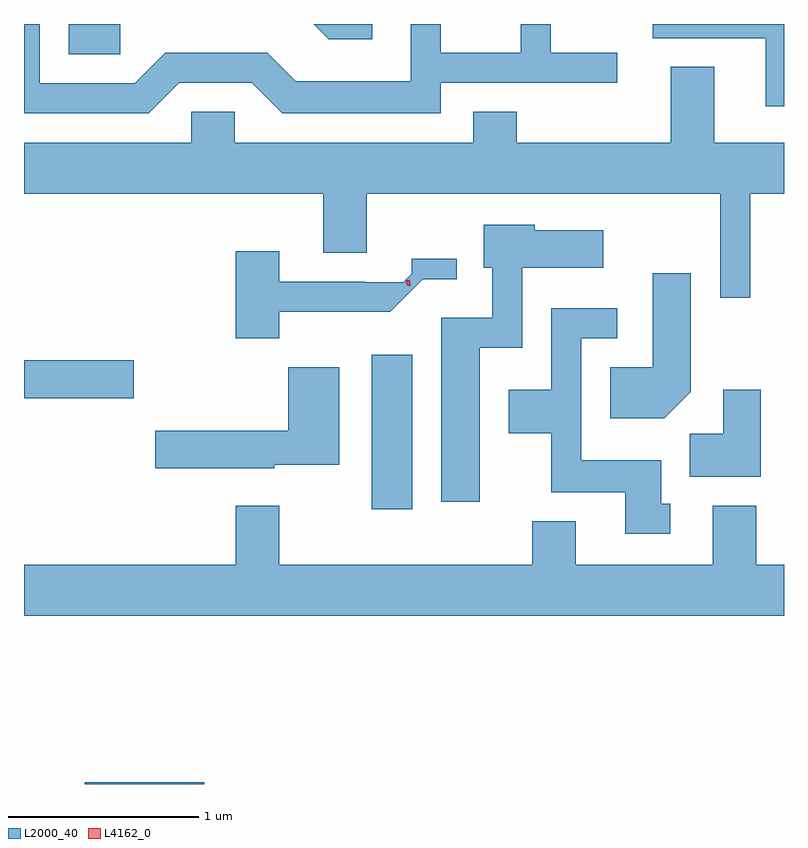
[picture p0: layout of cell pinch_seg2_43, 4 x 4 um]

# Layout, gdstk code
import gdstk
lib = gdstk.Library(unit=1e-6, precision=1e-09)
def R(c, l, rs):  # rectangles x0, y0, x1, y1
    for r in rs: c.add(gdstk.rectangle(r[:2], r[2:], *l))
def P(c, l, *ps):  # polygons
    for p in ps: c.add(gdstk.Polygon(p, *l))
L2000_40 = (2000, 40)
L4162_0 = (4162, 0)

pinch_seg2_43 = lib.new_cell('pinch_seg2_43')
R(pinch_seg2_43, L2000_40, [(1102.526,1098.49,1103.154,1098.499), (1104.036,1099.936,1104.249,1100.749), (1102.206,1100.521,1102.784,1100.719)])
P(pinch_seg2_43, L2000_40, [(1102.713,1102.489),(1102.599,1102.489),(1102.599,1102.49),(1102.441,1102.49),(1102.441,1102.331),(1102.713,1102.331)],
  [(1103.022,1102.181),(1103.404,1102.181),(1103.564,1102.021),(1104.399,1102.021),(1104.399,1102.181),(1105.328,1102.181),(1105.328,1102.339),(1104.979,1102.339),(1104.979,1102.49),(1104.821,1102.49),(1104.821,1102.339),(1104.399,1102.339),(1104.399,1102.49),(1104.241,1102.49),(1104.241,1102.189),(1103.637,1102.189),(1103.487,1102.339),(1102.949,1102.339),(1102.789,1102.179),(1102.289,1102.179),(1102.289,1102.49),(1102.206,1102.49),(1102.206,1102.021),(1102.862,1102.021)],
  [(1106.206,1102.49),(1105.516,1102.49),(1105.516,1102.416),(1106.111,1102.416),(1106.111,1102.056),(1106.206,1102.056)],
  [(1104.038,1102.49),(1103.73,1102.49),(1103.809,1102.411),(1104.038,1102.411)],
  [(1106.029,1101.596),(1106.206,1101.596),(1106.206,1101.864),(1105.839,1101.864),(1105.839,1102.264),(1105.611,1102.264),(1105.611,1101.864),(1104.799,1101.864),(1104.799,1102.029),(1104.571,1102.029),(1104.571,1101.864),(1103.314,1101.864),(1103.314,1102.029),(1103.086,1102.029),(1103.086,1101.864),(1102.206,1101.864),(1102.206,1101.596),(1103.781,1101.596),(1103.781,1101.286),(1104.009,1101.286),(1104.009,1101.596),(1105.871,1101.596),(1105.871,1101.048),(1106.029,1101.048)],
  [(1104.604,1100.786),(1104.829,1100.786),(1104.829,1101.206),(1105.254,1101.206),(1105.254,1101.404),(1104.894,1101.404),(1104.894,1101.434),(1104.626,1101.434),(1104.626,1101.206),(1104.671,1101.206),(1104.671,1100.944),(1104.401,1100.944),(1104.401,1099.976),(1104.604,1099.976)],
  [(1103.549,1100.976),(1104.134,1100.976),(1104.304,1101.146),(1104.483,1101.146),(1104.483,1101.254),(1104.247,1101.254),(1104.247,1101.175),(1104.202,1101.13),(1104.002,1101.13),(1104.002,1101.134),(1103.549,1101.134),(1103.549,1101.294),(1103.321,1101.294),(1103.321,1100.836),(1103.549,1100.836)],
  [(1105.714,1100.554),(1105.714,1101.179),(1105.516,1101.179),(1105.516,1100.684),(1105.291,1100.684),(1105.291,1100.416),(1105.577,1100.416)],
  [(1105.608,1099.964),(1105.559,1099.964),(1105.559,1100.194),(1105.139,1100.194),(1105.139,1100.836),(1105.328,1100.836),(1105.328,1100.994),(1104.981,1100.994),(1104.981,1100.564),(1104.756,1100.564),(1104.756,1100.336),(1104.981,1100.336),(1104.981,1100.026),(1105.371,1100.026),(1105.371,1099.806),(1105.608,1099.806)],
  [(1103.524,1100.171),(1103.864,1100.171),(1103.864,1100.684),(1103.596,1100.684),(1103.596,1100.349),(1102.896,1100.349),(1102.896,1100.151),(1103.524,1100.151)],
  [(1106.084,1100.564),(1105.886,1100.564),(1105.886,1100.334),(1105.711,1100.334),(1105.711,1100.106),(1106.084,1100.106)],
  [(1106.206,1099.644),(1106.059,1099.644),(1106.059,1099.954),(1105.831,1099.954),(1105.831,1099.644),(1105.109,1099.644),(1105.109,1099.874),(1104.881,1099.874),(1104.881,1099.644),(1103.549,1099.644),(1103.549,1099.954),(1103.321,1099.954),(1103.321,1099.644),(1102.206,1099.644),(1102.206,1099.376),(1106.206,1099.376)])
R(pinch_seg2_43, L4162_0, [(1104.217,1101.122,1104.237,1101.142)])
P(pinch_seg2_43, L4162_0, [(1104.238,1101.111),(1104.223,1101.116),(1104.222,1101.131),(1104.222,1101.132),(1104.223,1101.132),(1104.239,1101.128),(1104.239,1101.111),(1104.239,1101.111)])

lib.write_gds('pinch_seg2_43.gds')
